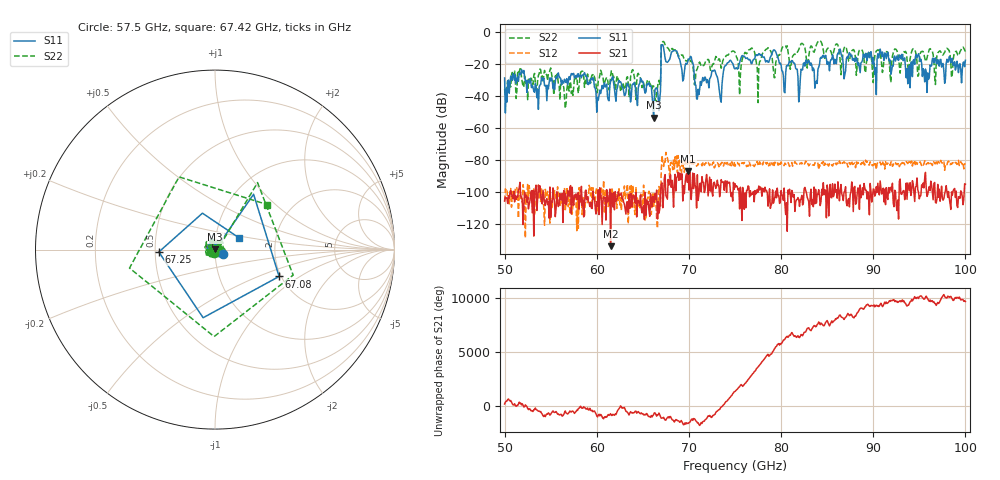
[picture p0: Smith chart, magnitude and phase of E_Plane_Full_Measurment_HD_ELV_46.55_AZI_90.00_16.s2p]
! 11/26/2026 3:22:30 PM
! C:\ANRITSUVNA\TEMP\TEMP.S2P
! CHANNEL.1
! TR.MEASUREMENT
! RAW.DATA
# HZ S RI R 50.0
! FREQ.HZ  S11RE  S11IM  S21RE  S21IM  S12RE  S12IM  S22RE  S22IM
!; PortSelection: Port_12
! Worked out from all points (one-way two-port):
!   601 points, 50 GHz to 100 GHz, reference 50 ohm
!   highest |S21| = -87.00 dB at 69.92 GHz (marker M1); lowest = -134.0 dB at 61.5 GHz (marker M2)
!   lowest |S11| = -53.9 dB at 66.17 GHz (marker M3), VSWR 1.00, Z = 50.1 + j0.147 ohm
!   |S11| at or under -10 dB: start of sweep to 67 GHz; 67.25 GHz to end of sweep
!   |S22| runs from -48.1 to -5.6 dB; largest |S21 - S12| = 0.00017
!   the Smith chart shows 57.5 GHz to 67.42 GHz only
!   S11 on the Smith chart (normalised r, x): 57.5 GHz: 1.09, -0.05; 67.08 GHz: 1.95, -0.69; 67.25 GHz: 0.52, -0.02; 67.42 GHz: 1.29, +0.18
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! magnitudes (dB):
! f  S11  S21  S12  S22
! 50 GHz  -29.0  -105.8  -105.9  -35.8
! 51.67 GHz  -26.3  -94.1  -99.8  -23.3
! 53.42 GHz  -34.7  -95.9  -99.4  -35.4
! 57.5 GHz  -26.2  -108.4  -104.5  -34.7
! 58.42 GHz  -27.2  -108.8  -114.3  -24.7
! 61.5 GHz  -30.9  -134.0  -100.5  -27.7
! 66.17 GHz  -53.9  -105.5  -110.1  -34.0
! 66.67 GHz  -41.5  -106.1  -111.4  -31.7
! 67.08 GHz  -8.2  -94.5  -77.3  -6.8
! 67.25 GHz  -10.1  -102.9  -84.2  -6.2
! 67.42 GHz  -16.6  -89.3  -81.6  -8.3
! 69.92 GHz  -17.9  -87.0  -80.5  -17.3
! 70.92 GHz  -42.2  -89.4  -83.0  -23.1
! 75 GHz  -23.3  -95.0  -84.1  -13.0
! 79.25 GHz  -11.5  -105.4  -83.6  -28.8
! 80.25 GHz  -27.8  -105.4  -83.4  -9.3
! 83.42 GHz  -24.5  -105.2  -83.4  -10.8
! 91.67 GHz  -16.7  -97.4  -83.1  -15.2
! 93.75 GHz  -32.6  -94.5  -82.4  -21.3
! 94.83 GHz  -15.0  -98.8  -82.0  -27.9
! 95.83 GHz  -38.0  -102.9  -82.5  -16.5
! 100 GHz  -18.0  -95.3  -82.3  -12.6
